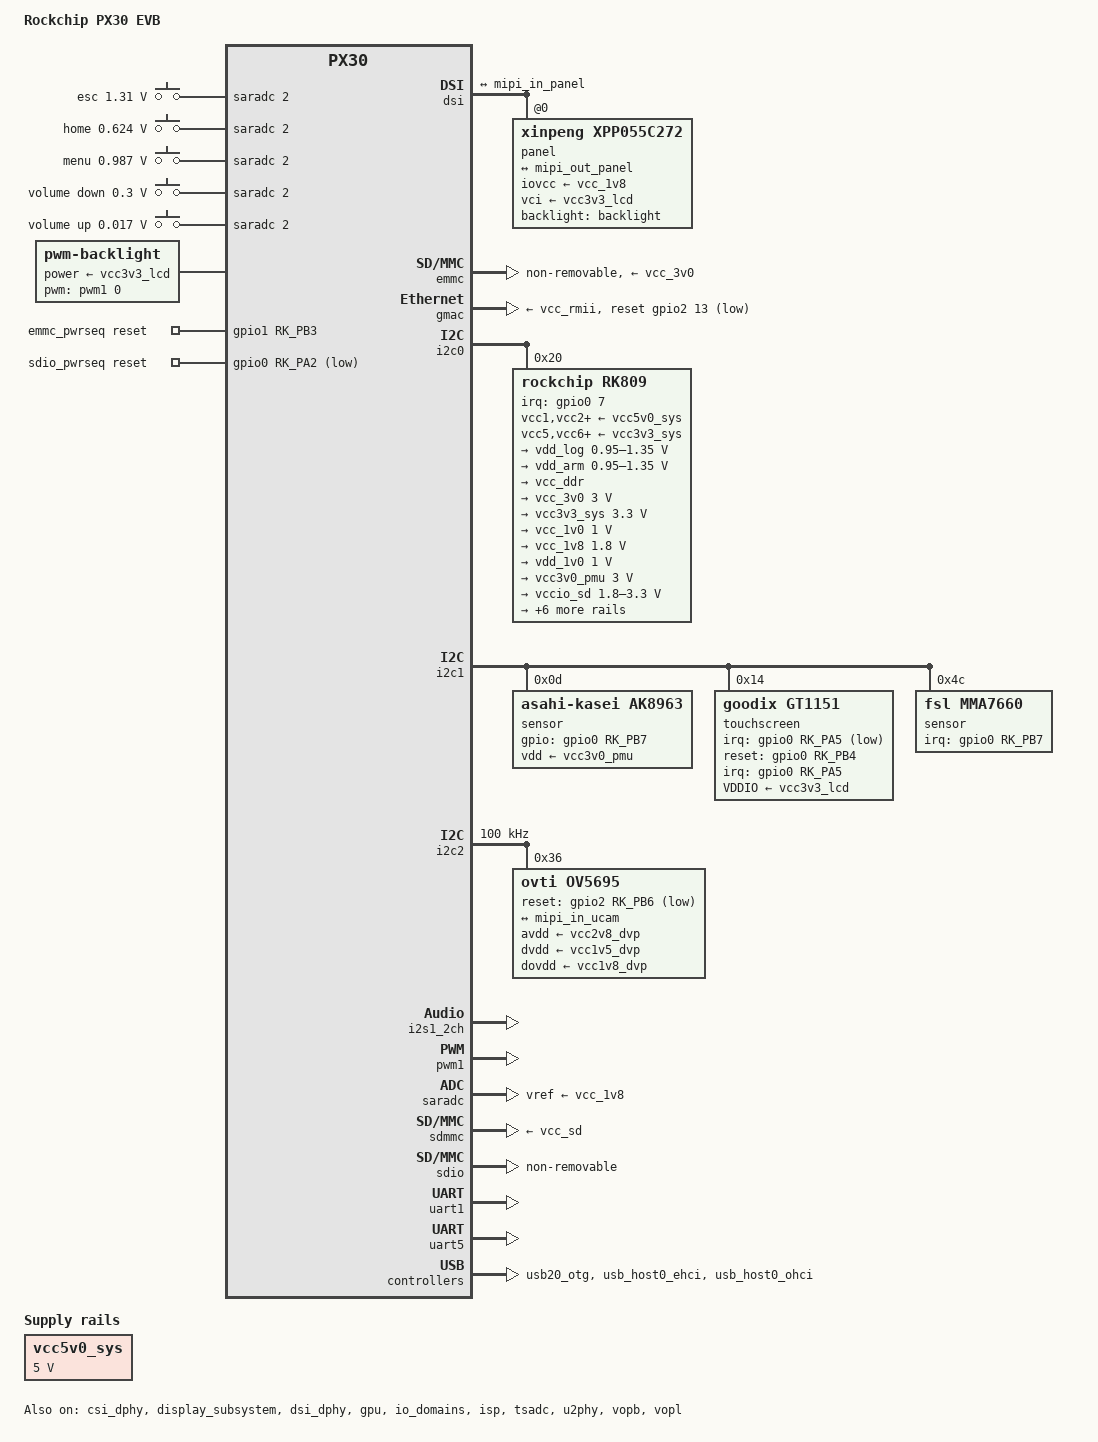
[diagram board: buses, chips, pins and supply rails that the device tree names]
// SPDX-License-Identifier: (GPL-2.0+ OR MIT)
/*
 * Copyright (c) 2018 Fuzhou Rockchip Electronics Co., Ltd
 */

/dts-v1/;
#include <dt-bindings/gpio/gpio.h>
#include <dt-bindings/input/input.h>
#include <dt-bindings/pinctrl/rockchip.h>
#include "px30.dtsi"

/ {
	model = "Rockchip PX30 EVB";
	compatible = "rockchip,px30-evb", "rockchip,px30";

	aliases {
		ethernet0 = &gmac;
		mmc0 = &sdmmc;
		mmc1 = &sdio;
		mmc2 = &emmc;
	};

	chosen {
		stdout-path = "serial5:115200n8";
	};

	adc-keys {
		compatible = "adc-keys";
		io-channels = <&saradc 2>;
		io-channel-names = "buttons";
		keyup-threshold-microvolt = <1800000>;
		poll-interval = <100>;

		button-esc {
			label = "esc";
			linux,code = <KEY_ESC>;
			press-threshold-microvolt = <1310000>;
		};

		button-home {
			label = "home";
			linux,code = <KEY_HOME>;
			press-threshold-microvolt = <624000>;
		};

		button-menu {
			label = "menu";
			linux,code = <KEY_MENU>;
			press-threshold-microvolt = <987000>;
		};

		button-down {
			label = "volume down";
			linux,code = <KEY_VOLUMEDOWN>;
			press-threshold-microvolt = <300000>;
		};

		button-up {
			label = "volume up";
			linux,code = <KEY_VOLUMEUP>;
			press-threshold-microvolt = <17000>;
		};
	};

	backlight: backlight {
		compatible = "pwm-backlight";
		pwms = <&pwm1 0 25000 0>;
		power-supply = <&vcc3v3_lcd>;
	};

	emmc_pwrseq: emmc-pwrseq {
		compatible = "mmc-pwrseq-emmc";
		pinctrl-0 = <&emmc_reset>;
		pinctrl-names = "default";
		reset-gpios = <&gpio1 RK_PB3 GPIO_ACTIVE_HIGH>;
	};

	sdio_pwrseq: sdio-pwrseq {
		compatible = "mmc-pwrseq-simple";
		pinctrl-names = "default";
		pinctrl-0 = <&wifi_enable_h>;

		/*
		 * On the module itself this is one of these (depending
		 * on the actual card populated):
		 * - SDIO_RESET_L_WL_REG_ON
		 * - PDN (power down when low)
		 */
		reset-gpios = <&gpio0 RK_PA2 GPIO_ACTIVE_LOW>; /* GPIO3_A4 */
	};

	vcc5v0_sys: regulator-vccsys {
		compatible = "regulator-fixed";
		regulator-name = "vcc5v0_sys";
		regulator-always-on;
		regulator-boot-on;
		regulator-min-microvolt = <5000000>;
		regulator-max-microvolt = <5000000>;
	};
};

&cpu0 {
	cpu-supply = <&vdd_arm>;
};

&cpu1 {
	cpu-supply = <&vdd_arm>;
};

&cpu2 {
	cpu-supply = <&vdd_arm>;
};

&cpu3 {
	cpu-supply = <&vdd_arm>;
};

&csi_dphy {
	status = "okay";
};

&display_subsystem {
	status = "okay";
};

&dsi {
	status = "okay";

	ports {
		mipi_out: port@1 {
			reg = <1>;

			mipi_out_panel: endpoint {
				remote-endpoint = <&mipi_in_panel>;
			};
		};
	};

	panel@0 {
		compatible = "xinpeng,xpp055c272";
		reg = <0>;
		backlight = <&backlight>;
		iovcc-supply = <&vcc_1v8>;
		vci-supply = <&vcc3v3_lcd>;

		port {
			mipi_in_panel: endpoint {
				remote-endpoint = <&mipi_out_panel>;
			};
		};
	};
};

&dsi_dphy {
	status = "okay";
};

&emmc {
	cap-mmc-highspeed;
	mmc-hs200-1_8v;
	non-removable;
	mmc-pwrseq = <&emmc_pwrseq>;
	vmmc-supply = <&vcc_3v0>;
	vqmmc-supply = <&vccio_flash>;
	status = "okay";
};

&gmac {
	clock_in_out = "output";
	phy-supply = <&vcc_rmii>;
	snps,reset-gpio = <&gpio2 13 GPIO_ACTIVE_LOW>;
	snps,reset-active-low;
	snps,reset-delays-us = <0 50000 50000>;
	status = "okay";
};

&gpu {
	mali-supply = <&vdd_log>;
	status = "okay";
};

&i2c0 {
	status = "okay";

	rk809: pmic@20 {
		compatible = "rockchip,rk809";
		reg = <0x20>;
		interrupt-parent = <&gpio0>;
		interrupts = <7 IRQ_TYPE_LEVEL_LOW>;
		pinctrl-names = "default";
		pinctrl-0 = <&pmic_int>;
		system-power-controller;
		wakeup-source;
		#clock-cells = <0>;
		clock-output-names = "xin32k";

		vcc1-supply = <&vcc5v0_sys>;
		vcc2-supply = <&vcc5v0_sys>;
		vcc3-supply = <&vcc5v0_sys>;
		vcc4-supply = <&vcc5v0_sys>;
		vcc5-supply = <&vcc3v3_sys>;
		vcc6-supply = <&vcc3v3_sys>;
		vcc7-supply = <&vcc3v3_sys>;
		vcc8-supply = <&vcc3v3_sys>;
		vcc9-supply = <&vcc5v0_sys>;

		regulators {
			vdd_log: DCDC_REG1 {
				regulator-name = "vdd_log";
				regulator-min-microvolt = <950000>;
				regulator-max-microvolt = <1350000>;
				regulator-ramp-delay = <6001>;
				regulator-always-on;
				regulator-boot-on;

				regulator-state-mem {
					regulator-on-in-suspend;
					regulator-suspend-microvolt = <950000>;
				};
			};

			vdd_arm: DCDC_REG2 {
				regulator-name = "vdd_arm";
				regulator-min-microvolt = <950000>;
				regulator-max-microvolt = <1350000>;
				regulator-ramp-delay = <6001>;
				regulator-always-on;
				regulator-boot-on;

				regulator-state-mem {
					regulator-off-in-suspend;
					regulator-suspend-microvolt = <950000>;
				};
			};

			vcc_ddr: DCDC_REG3 {
				regulator-name = "vcc_ddr";
				regulator-always-on;
				regulator-boot-on;

				regulator-state-mem {
					regulator-on-in-suspend;
				};
			};

			vcc_3v0: vcc_rmii: DCDC_REG4 {
				regulator-name = "vcc_3v0";
				regulator-min-microvolt = <3000000>;
				regulator-max-microvolt = <3000000>;
				regulator-always-on;
				regulator-boot-on;

				regulator-state-mem {
					regulator-on-in-suspend;
					regulator-suspend-microvolt = <3000000>;
				};
			};

			vcc3v3_sys: DCDC_REG5 {
				regulator-name = "vcc3v3_sys";
				regulator-min-microvolt = <3300000>;
				regulator-max-microvolt = <3300000>;
				regulator-always-on;
				regulator-boot-on;

				regulator-state-mem {
					regulator-on-in-suspend;
					regulator-suspend-microvolt = <3300000>;
				};
			};

			vcc_1v0: LDO_REG1 {
				regulator-name = "vcc_1v0";
				regulator-min-microvolt = <1000000>;
				regulator-max-microvolt = <1000000>;
				regulator-always-on;
				regulator-boot-on;

				regulator-state-mem {
					regulator-on-in-suspend;
					regulator-suspend-microvolt = <1000000>;
				};
			};

			vcc_1v8: vccio_flash: vccio_sdio: LDO_REG2 {
				regulator-name = "vcc_1v8";
				regulator-min-microvolt = <1800000>;
				regulator-max-microvolt = <1800000>;
				regulator-always-on;
				regulator-boot-on;

				regulator-state-mem {
					regulator-on-in-suspend;
					regulator-suspend-microvolt = <1800000>;
				};
			};

			vdd_1v0: LDO_REG3 {
				regulator-name = "vdd_1v0";
				regulator-min-microvolt = <1000000>;
				regulator-max-microvolt = <1000000>;
				regulator-always-on;
				regulator-boot-on;

				regulator-state-mem {
					regulator-on-in-suspend;
					regulator-suspend-microvolt = <1000000>;
				};
			};

			vcc3v0_pmu: LDO_REG4 {
				regulator-name = "vcc3v0_pmu";
				regulator-min-microvolt = <3000000>;
				regulator-max-microvolt = <3000000>;
				regulator-always-on;
				regulator-boot-on;

				regulator-state-mem {
					regulator-on-in-suspend;
					regulator-suspend-microvolt = <3000000>;
				};
			};

			vccio_sd: LDO_REG5 {
				regulator-name = "vccio_sd";
				regulator-min-microvolt = <1800000>;
				regulator-max-microvolt = <3300000>;
				regulator-always-on;
				regulator-boot-on;

				regulator-state-mem {
					regulator-on-in-suspend;
					regulator-suspend-microvolt = <3300000>;
				};
			};

			vcc_sd: LDO_REG6 {
				regulator-name = "vcc_sd";
				regulator-min-microvolt = <3300000>;
				regulator-max-microvolt = <3300000>;
				regulator-boot-on;

				regulator-state-mem {
					regulator-on-in-suspend;
					regulator-suspend-microvolt = <3300000>;
				};
			};

			vcc2v8_dvp: LDO_REG7 {
				regulator-name = "vcc2v8_dvp";
				regulator-min-microvolt = <2800000>;
				regulator-max-microvolt = <2800000>;
				regulator-boot-on;

				regulator-state-mem {
					regulator-off-in-suspend;
					regulator-suspend-microvolt = <2800000>;
				};
			};

			vcc1v8_dvp: LDO_REG8 {
				regulator-name = "vcc1v8_dvp";
				regulator-min-microvolt = <1800000>;
				regulator-max-microvolt = <1800000>;
				regulator-boot-on;

				regulator-state-mem {
					regulator-on-in-suspend;
					regulator-suspend-microvolt = <1800000>;
				};
			};

			vcc1v5_dvp: LDO_REG9 {
				regulator-name = "vcc1v5_dvp";
				regulator-min-microvolt = <1500000>;
				regulator-max-microvolt = <1500000>;
				regulator-boot-on;

				regulator-state-mem {
					regulator-off-in-suspend;
					regulator-suspend-microvolt = <1500000>;
				};
			};

			vcc3v3_lcd: SWITCH_REG1 {
				regulator-name = "vcc3v3_lcd";
				regulator-boot-on;
			};

			vcc5v0_host: SWITCH_REG2 {
				regulator-name = "vcc5v0_host";
				regulator-always-on;
				regulator-boot-on;
			};
		};
	};
};

&i2c1 {
	status = "okay";

	sensor@d {
		compatible = "asahi-kasei,ak8963";
		reg = <0x0d>;
		gpios = <&gpio0 RK_PB7 GPIO_ACTIVE_HIGH>;
		vdd-supply = <&vcc3v0_pmu>;
		mount-matrix = "1", /* x0 */
			       "0", /* y0 */
			       "0", /* z0 */
			       "0", /* x1 */
			       "1", /* y1 */
			       "0", /* z1 */
			       "0", /* x2 */
			       "0", /* y2 */
			       "1"; /* z2 */
	};

	touchscreen@14 {
		compatible = "goodix,gt1151";
		reg = <0x14>;
		interrupt-parent = <&gpio0>;
		interrupts = <RK_PA5 IRQ_TYPE_LEVEL_LOW>;
		irq-gpios = <&gpio0 RK_PA5 GPIO_ACTIVE_LOW>;
		reset-gpios = <&gpio0 RK_PB4 GPIO_ACTIVE_HIGH>;
		VDDIO-supply = <&vcc3v3_lcd>;
	};

	sensor@4c {
		compatible = "fsl,mma7660";
		reg = <0x4c>;
		interrupt-parent = <&gpio0>;
		interrupts = <RK_PB7 IRQ_TYPE_LEVEL_LOW>;
	};
};

&i2c2 {
	status = "okay";

	clock-frequency = <100000>;

	/* These are relatively safe rise/fall times; TODO: measure */
	i2c-scl-falling-time-ns = <50>;
	i2c-scl-rising-time-ns = <300>;

	ov5695: ov5695@36 {
		compatible = "ovti,ov5695";
		reg = <0x36>;
		avdd-supply = <&vcc2v8_dvp>;
		clocks = <&cru SCLK_CIF_OUT>;
		clock-names = "xvclk";
		dvdd-supply = <&vcc1v5_dvp>;
		dovdd-supply = <&vcc1v8_dvp>;
		pinctrl-names = "default";
		pinctrl-0 = <&cif_clkout_m0 &mipi_pdn>;
		reset-gpios = <&gpio2 RK_PB6 GPIO_ACTIVE_LOW>;

		port {
			ucam_out: endpoint {
				remote-endpoint = <&mipi_in_ucam>;
				data-lanes = <1 2>;
			};
		};
	};
};

&i2s1_2ch {
	status = "okay";
};

&io_domains {
	status = "okay";

	vccio1-supply = <&vccio_sdio>;
	vccio2-supply = <&vccio_sd>;
	vccio3-supply = <&vcc_3v0>;
	vccio4-supply = <&vcc3v0_pmu>;
	vccio5-supply = <&vcc_3v0>;
	vccio6-supply = <&vccio_flash>;
};

&isp {
	status = "okay";

	ports {
		port@0 {
			mipi_in_ucam: endpoint@0 {
				reg = <0>;
				data-lanes = <1 2>;
				remote-endpoint = <&ucam_out>;
			};
		};
	};
};

&isp_mmu {
	status = "okay";
};

&pinctrl {
	headphone {
		hp_det: hp-det {
			rockchip,pins =
				<2 RK_PB0 RK_FUNC_GPIO &pcfg_pull_down>;
		};
	};

	emmc {
		emmc_reset: emmc-reset {
			rockchip,pins = <1 RK_PB3 RK_FUNC_GPIO &pcfg_pull_none>;
		};
	};

	pmic {
		pmic_int: pmic_int {
			rockchip,pins =
				<0 RK_PA7 RK_FUNC_GPIO &pcfg_pull_up>;
		};

		soc_slppin_gpio: soc_slppin_gpio {
			rockchip,pins =
				<0 RK_PA4 RK_FUNC_GPIO &pcfg_output_low>;
		};

		soc_slppin_slp: soc_slppin_slp {
			rockchip,pins =
				<0 RK_PA4 1 &pcfg_pull_none>;
		};

		soc_slppin_rst: soc_slppin_rst {
			rockchip,pins =
				<0 RK_PA4 2 &pcfg_pull_none>;
		};
	};

	sdio-pwrseq {
		wifi_enable_h: wifi-enable-h {
			rockchip,pins =
				<0 RK_PA2 RK_FUNC_GPIO &pcfg_pull_none>;
		};
	};

	cif-m0 {
		cif_clkout_m0: cif-clkout-m0 {
			rockchip,pins =
				<2 RK_PB3 1 &pcfg_pull_none_12ma>;
		};
	};

	mipi {
		mipi_pdn: mipi-pdn {
			rockchip,pins = <2 RK_PB6 RK_FUNC_GPIO &pcfg_pull_none>;
		};
	};
};

&pmu_io_domains {
	status = "okay";

	pmuio1-supply = <&vcc3v0_pmu>;
	pmuio2-supply = <&vcc3v0_pmu>;
};

&pwm1 {
	status = "okay";
};

&saradc {
	vref-supply = <&vcc_1v8>;
	status = "okay";
};

&sdmmc {
	cap-mmc-highspeed;
	cap-sd-highspeed;
	card-detect-delay = <800>;
	sd-uhs-sdr12;
	sd-uhs-sdr25;
	sd-uhs-sdr50;
	sd-uhs-sdr104;
	vmmc-supply = <&vcc_sd>;
	vqmmc-supply = <&vccio_sd>;
	status = "okay";
};

&sdio {
	cap-sd-highspeed;
	keep-power-in-suspend;
	non-removable;
	mmc-pwrseq = <&sdio_pwrseq>;
	sd-uhs-sdr104;
	status = "okay";
};

&tsadc {
	rockchip,hw-tshut-mode = <1>;
	rockchip,hw-tshut-polarity = <1>;
	status = "okay";
};

&u2phy {
	status = "okay";

	u2phy_host: host-port {
		status = "okay";
	};

	u2phy_otg: otg-port {
		status = "okay";
	};
};

&uart1 {
	pinctrl-names = "default";
	pinctrl-0 = <&uart1_xfer &uart1_cts>;
	status = "okay";
};

&uart5 {
	status = "okay";
};

&usb20_otg {
	status = "okay";
};

&usb_host0_ehci {
	status = "okay";
};

&usb_host0_ohci {
	status = "okay";
};

&vopb {
	status = "okay";
};

&vopb_mmu {
	status = "okay";
};

&vopl {
	status = "okay";
};

&vopl_mmu {
	status = "okay";
};
